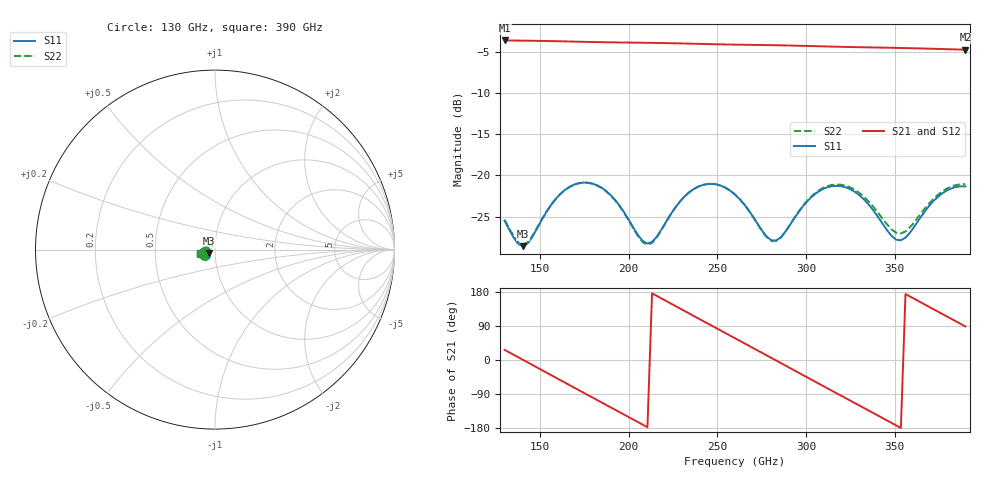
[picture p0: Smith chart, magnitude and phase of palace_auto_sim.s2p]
#  GHZ S DB R 50
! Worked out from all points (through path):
!   101 points, 130 GHz to 390 GHz, reference 50 ohm
!   highest |S21| = -3.64 dB at 130 GHz (marker M1); lowest = -4.8 dB at 390 GHz (marker M2)
!   group delay of S21, straight-line fit = 7.03 ps
!   lowest |S11| = -28.6 dB at 140.4 GHz (marker M3), VSWR 1.08, Z = 46.9 - j1.88 ohm
!   |S11| at or under -10 dB: start of sweep to end of sweep
!   |S22| runs from -28.4 to -20.9 dB; largest |S21 - S12| = 7.2e-14
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130  -25.50 -171.3  -3.64 26.7  -3.64 26.7  -25.38 -171.0
140.4  -28.57 -147.6  -3.66 0.3  -3.66 0.3  -28.39 -148.2
156  -23.64 -126.6  -3.71 -39.3  -3.71 -39.3  -23.62 -127.3
174.2  -20.86 -150.9  -3.80 -85.4  -3.80 -85.4  -20.88 -151.3
184.6  -21.47 -166.9  -3.85 -111.7  -3.85 -111.7  -21.50 -167.2
197.6  -24.52 -179.0  -3.89 -144.5  -3.89 -144.5  -24.59 -179.3
210.6  -28.25 -157.7  -3.92 -177.4  -3.92 -177.4  -28.39 -157.1
218.4  -26.59 -137.8  -3.95 162.8  -3.95 162.8  -26.64 -136.8
239.2  -21.37 -148.8  -4.05 110.0  -4.05 110.0  -21.35 -148.1
249.6  -21.09 -163.9  -4.10 83.7  -4.10 83.7  -21.08 -163.3
260  -22.31 -177.5  -4.14 57.4  -4.14 57.4  -22.31 -176.8
280.8  -27.88 -165.4  -4.21 4.8  -4.21 4.8  -27.97 -164.1
291.2  -25.93 -142.3  -4.25 -21.6  -4.25 -21.6  -25.91 -140.3
304.2  -22.42 -146.1  -4.32 -54.6  -4.32 -54.6  -22.32 -144.0
314.6  -21.30 -159.1  -4.38 -80.8  -4.38 -80.8  -21.16 -156.9
325  -21.66 -173.2  -4.43 -107.1  -4.43 -107.1  -21.45 -170.7
338  -24.22 175.5  -4.49 -139.9  -4.49 -139.9  -23.79 178.5
348.4  -27.34 -175.2  -4.53 -166.2  -4.53 -166.2  -26.55 -173.4
356.2  -27.54 -154.3  -4.56 174.0  -4.56 174.0  -26.79 -155.4
366.6  -24.51 -142.6  -4.61 147.7  -4.61 147.7  -24.15 -144.2
379.6  -21.81 -152.6  -4.69 114.8  -4.69 114.8  -21.59 -153.0
390  -21.33 -166.1  -4.76 88.6  -4.76 88.6  -21.07 -165.5
